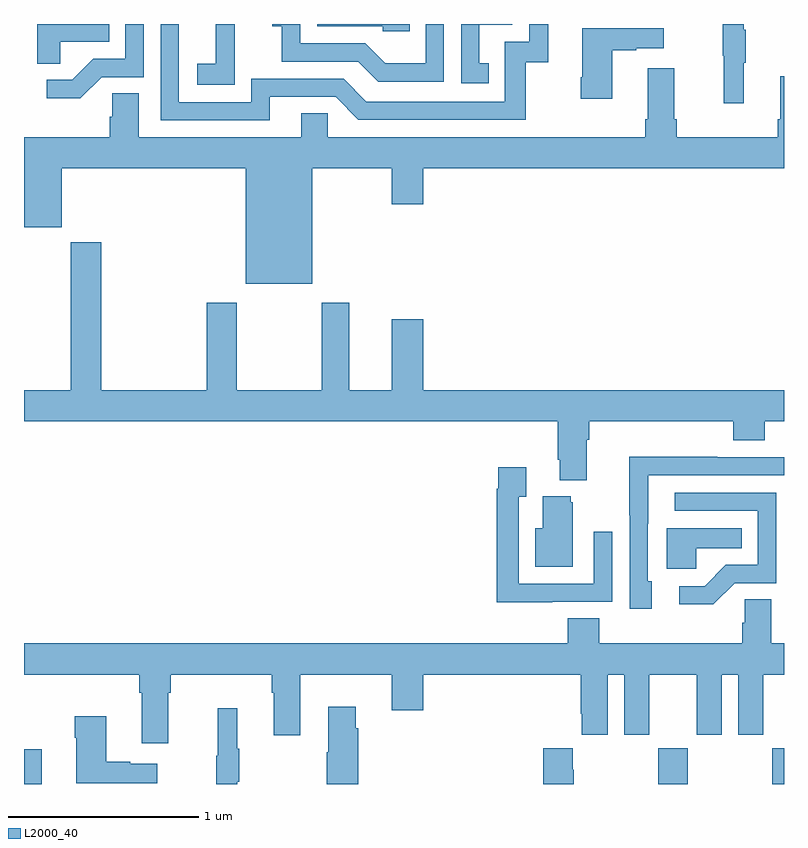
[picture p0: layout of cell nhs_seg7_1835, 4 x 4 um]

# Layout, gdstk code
import gdstk
lib = gdstk.Library(unit=1e-6, precision=1e-09)
def R(c, l, rs):  # rectangles x0, y0, x1, y1
    for r in rs: c.add(gdstk.rectangle(r[:2], r[2:], *l))
def P(c, l, *ps):  # polygons
    for p in ps: c.add(gdstk.Polygon(p, *l))
L2000_40 = (2000, 40)

nhs_seg7_1835 = lib.new_cell('nhs_seg7_1835')
R(nhs_seg7_1835, L2000_40, [(235,1040,235.094,1040.182), (238.339,1040,238.494,1040.188), (238.939,1040,239,1040.188)])
P(nhs_seg7_1835, L2000_40, [(235.191,1043.906),(235.448,1043.906),(235.448,1044),(235.07,1044),(235.07,1043.791),(235.191,1043.791)],
  [(237.21,1044),(237.114,1044),(237.114,1043.794),(236.9,1043.794),(236.796,1043.898),(236.454,1043.898),(236.454,1044),(236.307,1044),(236.307,1043.987),(236.356,1043.987),(236.356,1043.802),(236.759,1043.802),(236.864,1043.697),(237.21,1043.697)],
  [(235.41,1043.721),(235.629,1043.721),(235.629,1044),(235.533,1044),(235.533,1043.817),(235.364,1043.817),(235.253,1043.706),(235.119,1043.706),(235.119,1043.609),(235.297,1043.609)],
  [(236.293,1043.616),(236.64,1043.616),(236.76,1043.496),(237.64,1043.496),(237.64,1043.799),(237.758,1043.799),(237.758,1044),(237.66,1044),(237.66,1043.907),(237.531,1043.907),(237.531,1043.592),(236.802,1043.592),(236.682,1043.712),(236.196,1043.712),(236.196,1043.589),(235.815,1043.589),(235.815,1044),(235.719,1044),(235.719,1043.493),(236.293,1043.493)],
  [(237.446,1043.793),(237.397,1043.793),(237.397,1043.997),(237.57,1043.997),(237.57,1044),(237.3,1044),(237.3,1043.688),(237.446,1043.688)],
  [(237.029,1044),(236.544,1044),(236.544,1043.988),(236.889,1043.988),(236.889,1043.961),(237.029,1043.961)],
  [(236.109,1043.887),(236.108,1043.887),(236.108,1044),(236.009,1044),(236.009,1043.791),(235.911,1043.791),(235.911,1043.681),(236.109,1043.681)],
  [(238.787,1043.795),(238.798,1043.795),(238.798,1043.969),(238.787,1043.969),(238.787,1044),(238.677,1044),(238.677,1043.832),(238.684,1043.832),(238.684,1043.583),(238.787,1043.583)],
  [(238.096,1043.863),(238.223,1043.863),(238.223,1043.873),(238.366,1043.873),(238.366,1043.977),(237.938,1043.977),(237.938,1043.719),(237.931,1043.719),(237.931,1043.607),(238.096,1043.607)],
  [(236.518,1043.24),(236.936,1043.24),(236.936,1043.052),(237.1,1043.052),(237.1,1043.24),(239,1043.24),(239,1043.725),(238.979,1043.725),(238.979,1043.5),(238.967,1043.5),(238.967,1043.404),(238.436,1043.404),(238.436,1043.5),(238.423,1043.5),(238.423,1043.767),(238.283,1043.767),(238.283,1043.5),(238.271,1043.5),(238.271,1043.404),(236.598,1043.404),(236.598,1043.531),(236.459,1043.531),(236.459,1043.404),(235.603,1043.404),(235.603,1043.636),(235.464,1043.636),(235.464,1043.513),(235.451,1043.513),(235.451,1043.404),(235,1043.404),(235,1042.931),(235.198,1042.931),(235.198,1043.24),(236.168,1043.24),(236.168,1042.634),(236.518,1042.634)],
  [(237.961,1041.812),(237.974,1041.812),(237.974,1041.908),(238.733,1041.908),(238.733,1041.809),(238.898,1041.809),(238.898,1041.908),(239,1041.908),(239,1042.072),(237.1,1042.072),(237.1,1042.447),(236.936,1042.447),(236.936,1042.072),(236.713,1042.072),(236.713,1042.534),(236.566,1042.534),(236.566,1042.072),(236.121,1042.072),(236.121,1042.534),(235.961,1042.534),(235.961,1042.072),(235.406,1042.072),(235.406,1042.852),(235.246,1042.852),(235.246,1042.072),(235,1042.072),(235,1041.908),(237.809,1041.908),(237.809,1041.706),(237.821,1041.706),(237.821,1041.599),(237.961,1041.599)],
  [(238.303,1041.066),(238.284,1041.066),(238.284,1041.37),(238.285,1041.37),(238.285,1041.624),(239,1041.624),(239,1041.72),(238.649,1041.72),(238.649,1041.722),(238.186,1041.722),(238.186,1041.415),(238.188,1041.415),(238.188,1040.922),(238.303,1040.922)],
  [(237.779,1040.958),(238.095,1040.958),(238.095,1041.328),(237.999,1041.328),(237.999,1041.054),(237.603,1041.054),(237.603,1041.511),(237.643,1041.511),(237.643,1041.667),(237.495,1041.667),(237.495,1041.554),(237.487,1041.554),(237.487,1040.957),(237.779,1040.957)],
  [(238.74,1041.057),(238.959,1041.057),(238.959,1041.534),(238.425,1041.534),(238.425,1041.438),(238.863,1041.438),(238.863,1041.153),(238.694,1041.153),(238.583,1041.042),(238.449,1041.042),(238.449,1040.945),(238.627,1040.945)],
  [(237.889,1041.483),(237.878,1041.483),(237.878,1041.514),(237.731,1041.514),(237.731,1041.346),(237.692,1041.346),(237.692,1041.143),(237.889,1041.143)],
  [(238.539,1041.242),(238.778,1041.242),(238.778,1041.346),(238.382,1041.346),(238.382,1041.134),(238.539,1041.134)],
  [(235.759,1040.48),(235.772,1040.48),(235.772,1040.576),(236.303,1040.576),(236.303,1040.48),(236.315,1040.48),(236.315,1040.256),(236.455,1040.256),(236.455,1040.576),(236.936,1040.576),(236.936,1040.388),(237.1,1040.388),(237.1,1040.576),(237.929,1040.576),(237.929,1040.371),(237.935,1040.371),(237.935,1040.259),(238.072,1040.259),(238.072,1040.576),(238.16,1040.576),(238.16,1040.259),(238.291,1040.259),(238.291,1040.576),(238.541,1040.576),(238.541,1040.259),(238.672,1040.259),(238.672,1040.576),(238.76,1040.576),(238.76,1040.259),(238.891,1040.259),(238.891,1040.576),(239,1040.576),(239,1040.74),(238.933,1040.74),(238.933,1040.972),(238.794,1040.972),(238.794,1040.849),(238.781,1040.849),(238.781,1040.74),(238.028,1040.74),(238.028,1040.873),(237.863,1040.873),(237.863,1040.74),(235,1040.74),(235,1040.576),(235.607,1040.576),(235.607,1040.48),(235.619,1040.48),(235.619,1040.214),(235.759,1040.214)],
  [(236.759,1040.294),(236.746,1040.294),(236.746,1040.407),(236.6,1040.407),(236.6,1040.168),(236.593,1040.168),(236.593,1040),(236.759,1040)],
  [(236.123,1040.011),(236.134,1040.011),(236.134,1040.185),(236.123,1040.185),(236.123,1040.398),(236.02,1040.398),(236.02,1040.148),(236.013,1040.148),(236.013,1040),(236.123,1040)],
  [(235.702,1040.107),(235.559,1040.107),(235.559,1040.117),(235.432,1040.117),(235.432,1040.356),(235.267,1040.356),(235.267,1040.243),(235.274,1040.243),(235.274,1040.003),(235.702,1040.003)],
  [(237.894,1040.075),(237.889,1040.075),(237.889,1040.188),(237.734,1040.188),(237.734,1040),(237.894,1040)])

lib.write_gds('nhs_seg7_1835.gds')
